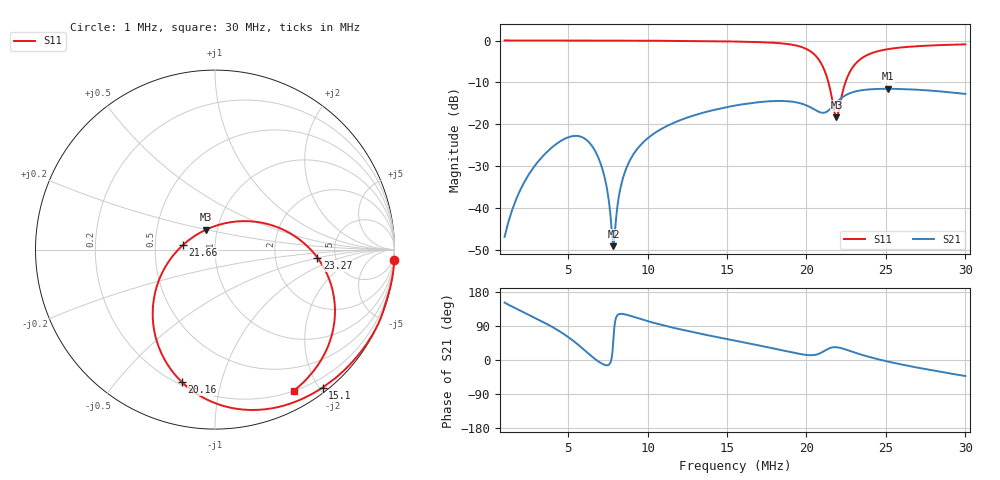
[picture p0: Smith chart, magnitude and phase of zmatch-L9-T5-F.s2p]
# HZ S RI R 50
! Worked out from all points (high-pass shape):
!   505 points, 1 MHz to 30 MHz, reference 50 ohm
!   highest |S21| = -11.50 dB at 25.11 MHz (marker M1); lowest = -49.0 dB at 7.847 MHz (marker M2)
!   |S21| within 3 dB of the highest: 17.56 MHz to 18.92 MHz (1.363 MHz wide, 7.47 % of centre); 21.95 MHz to end of sweep
!   lowest |S11| = -18.3 dB at 21.89 MHz (marker M3), VSWR 1.28, Z = 44.2 + j10 ohm
!   |S11| at or under -10 dB: 21.38 MHz to 22.45 MHz (1.065 MHz wide, 4.86 % of centre)
!   S12 and S22 are empty: the file has one direction only
!   S11 on the Smith chart (normalised r, x): 1 MHz: -1, -36; 15.1 MHz: 0.07, -2.05; 20.16 MHz: 0.22, -0.76; 21.66 MHz: 0.70, +0.04; 23.27 MHz: 3.61, -0.49; 30 MHz: 0.20, -1.69
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1000000  0.9996 -0.0561  -0.00404 0.00219  0 0  0 0
1863100  0.9955 -0.1025  -0.01 0.0108  0 0  0 0
3013900  0.9866 -0.1642  -0.0111 0.0326  0 0  0 0
5833360  0.9476 -0.3085  0.0597 0.0387  0 0  0 0
7099240  0.926 -0.3739  0.0314 -0.00495  0 0  0 0
7847260  0.9093 -0.4139  0.00207 0.00289  0 0  0 0
8250040  0.8989 -0.4349  -0.0084 0.0137  0 0  0 0
8710360  0.886 -0.4586  -0.0155 0.0278  0 0  0 0
1.066672e7  0.8217 -0.5578  -0.00718 0.0838  0 0  0 0
1.50973e7  0.599 -0.7688  0.0946 0.1323  0 0  0 0
1.550008e7  0.5701 -0.7872  0.1056 0.1306  0 0  0 0
1.820446e7  0.2766 -0.8899  0.1683 0.0895  0 0  0 0
2.016082e7  -0.1829 -0.7396  0.1594 0.0361  0 0  0 0
2.033344e7  -0.2319 -0.686  0.1533 0.0345  0 0  0 0
2.1139e7  -0.3406 -0.2748  0.1262 0.057  0 0  0 0
2.165686e7  -0.1784 0.0258  0.1374 0.0907  0 0  0 0
2.188702e7  -0.0492 0.1114  0.1524 0.1014  0 0  0 0
2.25775e7  0.3461 0.1253  0.2054 0.1008  0 0  0 0
2.326798e7  0.571 -0.0456  0.2415 0.0714  0 0  0 0
2.510926e7  0.6614 -0.4288  0.2654 -0.0184  0 0  0 0
2.51668e7  0.6597 -0.4369  0.2652 -0.021  0 0  0 0
3.000016e7  0.4392 -0.7859  0.1708 -0.1553  0 0  0 0
